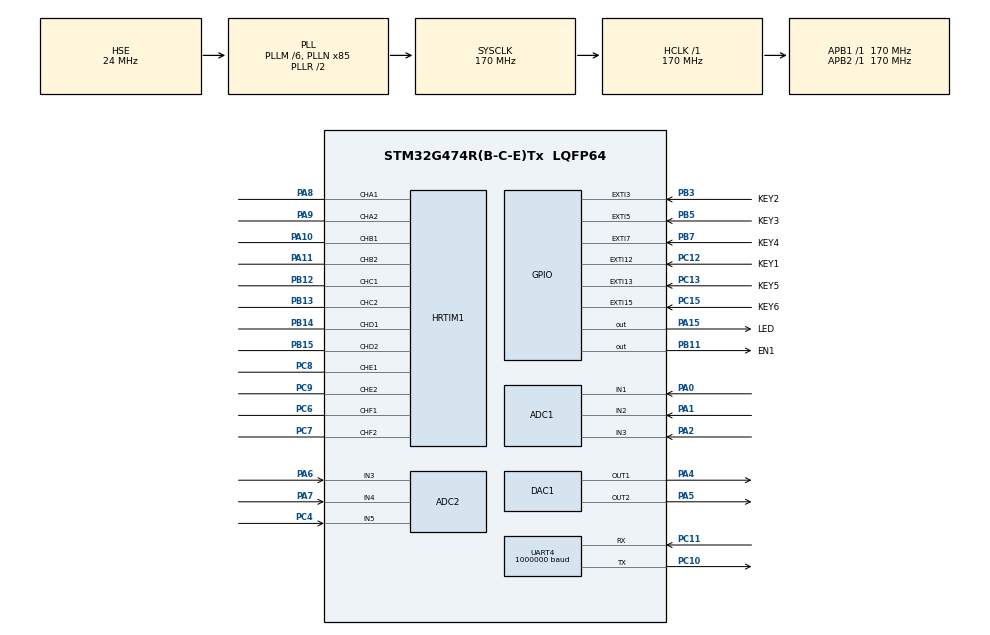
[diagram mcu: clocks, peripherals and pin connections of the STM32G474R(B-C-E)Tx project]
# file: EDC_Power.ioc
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ADC1.Channel-5\#ChannelRegularConversion=ADC_CHANNEL_1
ADC1.Channel-6\#ChannelRegularConversion=ADC_CHANNEL_2
ADC1.Channel-7\#ChannelRegularConversion=ADC_CHANNEL_3
ADC1.ContinuousConvMode=DISABLE
ADC1.DMAAccessModeView=ENABLE
ADC1.DMAContinuousRequests=DISABLE
ADC1.DiscontinuousConvMode=DISABLE
ADC1.EOCSelection=ADC_EOC_SEQ_CONV
ADC1.EnableRegularConversion=ENABLE
ADC1.ExternalTrigConv=ADC_EXTERNALTRIG_HRTIM_TRG1
ADC1.Mode=ADC_DUALMODE_REGSIMULT
ADC1.NbrOfConversion=3
ADC1.NbrOfConversionFlag=1
ADC1.OffsetNumber-5\#ChannelRegularConversion=ADC_OFFSET_NONE
ADC1.OffsetNumber-6\#ChannelRegularConversion=ADC_OFFSET_NONE
ADC1.OffsetNumber-7\#ChannelRegularConversion=ADC_OFFSET_NONE
ADC1.Overrun=ADC_OVR_DATA_OVERWRITTEN
ADC1.OversamplingMode=DISABLE
ADC1.Rank-5\#ChannelRegularConversion=1
ADC1.Rank-6\#ChannelRegularConversion=2
ADC1.Rank-7\#ChannelRegularConversion=3
ADC1.SamplingTime-5\#ChannelRegularConversion=ADC_SAMPLETIME_24CYCLES_5
ADC1.SamplingTime-6\#ChannelRegularConversion=ADC_SAMPLETIME_24CYCLES_5
ADC1.SamplingTime-7\#ChannelRegularConversion=ADC_SAMPLETIME_24CYCLES_5
ADC1.master=1
ADC2.Channel-0\#ChannelRegularConversion=ADC_CHANNEL_3
ADC2.Channel-1\#ChannelRegularConversion=ADC_CHANNEL_4
ADC2.Channel-2\#ChannelRegularConversion=ADC_CHANNEL_5
ADC2.DMAAccessModeView=ENABLE
ADC2.EOCSelection=ADC_EOC_SEQ_CONV
ADC2.Mode=ADC_DUALMODE_REGSIMULT
ADC2.NbrOfConversion=3
ADC2.NbrOfConversionFlag=1
ADC2.OffsetNumber-0\#ChannelRegularConversion=ADC_OFFSET_NONE
ADC2.OffsetNumber-1\#ChannelRegularConversion=ADC_OFFSET_NONE
ADC2.OffsetNumber-2\#ChannelRegularConversion=ADC_OFFSET_NONE
ADC2.Overrun=ADC_OVR_DATA_OVERWRITTEN
ADC2.Rank-0\#ChannelRegularConversion=1
ADC2.Rank-1\#ChannelRegularConversion=2
ADC2.Rank-2\#ChannelRegularConversion=3
ADC2.SamplingTime-0\#ChannelRegularConversion=ADC_SAMPLETIME_24CYCLES_5
ADC2.SamplingTime-1\#ChannelRegularConversion=ADC_SAMPLETIME_24CYCLES_5
ADC2.SamplingTime-2\#ChannelRegularConversion=ADC_SAMPLETIME_24CYCLES_5
DAC1.DAC_Channel-DAC_OUT2=DAC_CHANNEL_2
DAC1.DAC_Trigger_OUT1-DAC_OUT1=DAC_TRIGGER_SOFTWARE
DAC1.DAC_Trigger_OUT2-DAC_OUT2=DAC_TRIGGER_SOFTWARE
Dma.ADC1.0.Direction=DMA_PERIPH_TO_MEMORY
Dma.ADC1.0.EventEnable=DISABLE
Dma.ADC1.0.Instance=DMA1_Channel1
Dma.ADC1.0.MemDataAlignment=DMA_MDATAALIGN_WORD
Dma.ADC1.0.MemInc=DMA_MINC_ENABLE
Dma.ADC1.0.Mode=DMA_NORMAL
Dma.ADC1.0.PeriphDataAlignment=DMA_PDATAALIGN_WORD
Dma.ADC1.0.PeriphInc=DMA_PINC_DISABLE
Dma.ADC1.0.Polarity=HAL_DMAMUX_REQ_GEN_RISING
Dma.ADC1.0.Priority=DMA_PRIORITY_VERY_HIGH
Dma.ADC1.0.RequestNumber=1
Dma.ADC1.0.SignalID=NONE
Dma.ADC1.0.SyncEnable=DISABLE
Dma.ADC1.0.SyncPolarity=HAL_DMAMUX_SYNC_NO_EVENT
Dma.ADC1.0.SyncRequestNumber=1
Dma.ADC1.0.SyncSignalID=NONE
Dma.Request0=ADC1
HRTIM1.ADCTrigger1_Source1=HRTIM_ADCTRIGGEREVENT13_MASTER_PERIOD
HRTIM1.ADCTrigger_Id1=HRTIM_ADCTRIGGER_1
HRTIM1.CompareUnit1-Output_TA1TA2=HRTIM_COMPAREUNIT_1
HRTIM1.CompareUnit1-Output_TB1TB2=HRTIM_COMPAREUNIT_1
HRTIM1.CompareUnit1-Output_TC1TC2=HRTIM_COMPAREUNIT_1
HRTIM1.CompareUnit1-Output_TD1TD2=HRTIM_COMPAREUNIT_1
HRTIM1.CompareUnit1-Output_TE1TE2=HRTIM_COMPAREUNIT_1
HRTIM1.CompareUnit1-Output_TF1TF2=HRTIM_COMPAREUNIT_1
HRTIM1.CompareValue1-Output_TA1TA2=0
HRTIM1.CompareValue1-Output_TB1TB2=0
HRTIM1.CompareValue1-Output_TC1TC2=0
HRTIM1.CompareValue1-Output_TD1TD2=0
HRTIM1.CompareValue1-Output_TE1TE2=0
HRTIM1.CompareValue1-Output_TF1TF2=0
HRTIM1.DeadTimeInsertion-Output_TA1TA2=HRTIM_TIMDEADTIMEINSERTION_ENABLED
HRTIM1.DeadTimeInsertion-Output_TB1TB2=HRTIM_TIMDEADTIMEINSERTION_ENABLED
HRTIM1.DeadTimeInsertion-Output_TC1TC2=HRTIM_TIMDEADTIMEINSERTION_ENABLED
HRTIM1.DeadTimeInsertion-Output_TD1TD2=HRTIM_TIMDEADTIMEINSERTION_ENABLED
HRTIM1.DeadTimeInsertion-Output_TE1TE2=HRTIM_TIMDEADTIMEINSERTION_ENABLED
HRTIM1.DeadTimeInsertion-Output_TF1TF2=HRTIM_TIMDEADTIMEINSERTION_ENABLED
HRTIM1.FallingSign-Output_TA1TA2=HRTIM_TIMDEADTIME_FALLINGSIGN_POSITIVE
HRTIM1.FallingValue-Output_TA1TA2=100
HRTIM1.FallingValue-Output_TB1TB2=100
HRTIM1.FallingValue-Output_TC1TC2=100
HRTIM1.FallingValue-Output_TD1TD2=100
HRTIM1.FallingValue-Output_TE1TE2=100
HRTIM1.FallingValue-Output_TF1TF2=100
HRTIM1.NumberADCTriggerSource1=1
HRTIM1.NumberResetSource1-Output_TA1TA2=1
HRTIM1.NumberResetSource1-Output_TB1TB2=1
HRTIM1.NumberResetSource1-Output_TC1TC2=1
HRTIM1.NumberResetSource1-Output_TD1TD2=1
HRTIM1.NumberResetSource1-Output_TE1TE2=1
HRTIM1.NumberResetSource1-Output_TF1TF2=1
HRTIM1.NumberResetTrigger-Output_TA1TA2=1
HRTIM1.NumberResetTrigger-Output_TB1TB2=1
HRTIM1.NumberResetTrigger-Output_TC1TC2=1
HRTIM1.NumberResetTrigger-Output_TD1TD2=1
HRTIM1.NumberResetTrigger-Output_TE1TE2=1
HRTIM1.NumberResetTrigger-Output_TF1TF2=1
HRTIM1.Periode_MASTER=34000
HRTIM1.Periode_TA=45333
HRTIM1.Periode_TB=45333
HRTIM1.Periode_TC=45333
HRTIM1.Periode_TD=45333
HRTIM1.Periode_TE=45333
HRTIM1.Periode_TF=45333
HRTIM1.PreloadEnable-Output_TA1TA2=HRTIM_PRELOAD_ENABLED
HRTIM1.PreloadEnable-Output_TB1TB2=HRTIM_PRELOAD_ENABLED
HRTIM1.PreloadEnable-Output_TC1TC2=HRTIM_PRELOAD_ENABLED
HRTIM1.PreloadEnable-Output_TD1TD2=HRTIM_PRELOAD_ENABLED
HRTIM1.PreloadEnable-Output_TE1TE2=HRTIM_PRELOAD_ENABLED
HRTIM1.PreloadEnable-Output_TF1TF2=HRTIM_PRELOAD_ENABLED
HRTIM1.PrescalerRatio_MASTER=HRTIM_PRESCALERRATIO_MUL4
HRTIM1.PushPull-Output_TA1TA2=HRTIM_TIMPUSHPULLMODE_DISABLED
HRTIM1.PushPull-Output_TB1TB2=HRTIM_TIMPUSHPULLMODE_DISABLED
HRTIM1.PushPull-Output_TC1TC2=HRTIM_TIMPUSHPULLMODE_DISABLED
HRTIM1.PushPull-Output_TD1TD2=HRTIM_TIMPUSHPULLMODE_DISABLED
HRTIM1.PushPull-Output_TE1TE2=HRTIM_TIMPUSHPULLMODE_DISABLED
HRTIM1.PushPull-Output_TF1TF2=HRTIM_TIMPUSHPULLMODE_DISABLED
HRTIM1.RepetitionUpdate-Output_TA1TA2=HRTIM_UPDATEONREPETITION_ENABLED
HRTIM1.RepetitionUpdate-Output_TB1TB2=HRTIM_UPDATEONREPETITION_ENABLED
HRTIM1.RepetitionUpdate-Output_TC1TC2=HRTIM_UPDATEONREPETITION_ENABLED
HRTIM1.RepetitionUpdate-Output_TD1TD2=HRTIM_UPDATEONREPETITION_ENABLED
HRTIM1.RepetitionUpdate-Output_TE1TE2=HRTIM_UPDATEONREPETITION_ENABLED
HRTIM1.RepetitionUpdate-Output_TF1TF2=HRTIM_UPDATEONREPETITION_ENABLED
HRTIM1.ResetOutput1_Source1-Output_TA1TA2=HRTIM_OUTPUTRESET_TIMCMP1
HRTIM1.ResetOutput1_Source1-Output_TB1TB2=HRTIM_OUTPUTRESET_TIMCMP1
HRTIM1.ResetOutput1_Source1-Output_TC1TC2=HRTIM_OUTPUTRESET_TIMCMP1
HRTIM1.ResetOutput1_Source1-Output_TD1TD2=HRTIM_OUTPUTRESET_TIMCMP1
HRTIM1.ResetOutput1_Source1-Output_TE1TE2=HRTIM_OUTPUTRESET_TIMCMP1
HRTIM1.ResetOutput1_Source1-Output_TF1TF2=HRTIM_OUTPUTRESET_TIMCMP1
HRTIM1.ResetTrigger1-Output_TA1TA2=HRTIM_TIMRESETTRIGGER_MASTER_PER
HRTIM1.ResetTrigger1-Output_TB1TB2=HRTIM_TIMRESETTRIGGER_MASTER_PER
HRTIM1.ResetTrigger1-Output_TC1TC2=HRTIM_TIMRESETTRIGGER_MASTER_PER
HRTIM1.ResetTrigger1-Output_TD1TD2=HRTIM_TIMRESETTRIGGER_MASTER_PER
HRTIM1.ResetTrigger1-Output_TE1TE2=HRTIM_TIMRESETTRIGGER_MASTER_PER
HRTIM1.ResetTrigger1-Output_TF1TF2=HRTIM_TIMRESETTRIGGER_MASTER_PER
HRTIM1.RisingSign-Output_TA1TA2=HRTIM_TIMDEADTIME_RISINGSIGN_POSITIVE
HRTIM1.RisingValue-Output_TA1TA2=100
HRTIM1.RisingValue-Output_TB1TB2=100
HRTIM1.RisingValue-Output_TC1TC2=100
HRTIM1.RisingValue-Output_TD1TD2=100
HRTIM1.RisingValue-Output_TE1TE2=100
HRTIM1.RisingValue-Output_TF1TF2=100
HRTIM1.UpDownMode-Output_TA1TA2=HRTIM_TIMERUPDOWNMODE_UPDOWN
HRTIM1.UpDownMode-Output_TB1TB2=HRTIM_TIMERUPDOWNMODE_UPDOWN
HRTIM1.UpDownMode-Output_TC1TC2=HRTIM_TIMERUPDOWNMODE_UPDOWN
HRTIM1.UpDownMode-Output_TD1TD2=HRTIM_TIMERUPDOWNMODE_UPDOWN
HRTIM1.UpDownMode-Output_TE1TE2=HRTIM_TIMERUPDOWNMODE_UPDOWN
HRTIM1.UpDownMode-Output_TF1TF2=HRTIM_TIMERUPDOWNMODE_UPDOWN
Mcu.Family=STM32G4
Mcu.Name=STM32G474R(B-C-E)Tx
Mcu.Package=LQFP64
NVIC.DMA1_Channel1_IRQn=true\:0\:0\:false\:false\:true\:true\:true\:true
NVIC.EXTI15_10_IRQn=true\:1\:0\:true\:false\:true\:true\:true\:true
NVIC.EXTI3_IRQn=true\:1\:0\:true\:false\:true\:true\:true\:true
NVIC.EXTI9_5_IRQn=true\:1\:0\:true\:false\:true\:true\:true\:true
NVIC.PriorityGroup=NVIC_PRIORITYGROUP_4
PA0.Signal=SharedAnalog_PA0
PA1.Signal=SharedAnalog_PA1
PA10.Mode=Output_TB1TB2
PA10.Signal=HRTIM1_CHB1
PA11.Mode=Output_TB1TB2
PA11.Signal=HRTIM1_CHB2
PA13.Mode=Serial_Wire
PA13.Signal=SYS_JTMS-SWDIO
PA14.Mode=Serial_Wire
PA14.Signal=SYS_JTCK-SWCLK
PA15.GPIO_Label=LED
PA15.GPIO_PuPd=GPIO_PULLUP
PA15.PinState=GPIO_PIN_SET
PA15.Signal=GPIO_Output
PA2.Signal=SharedAnalog_PA2
PA4.Signal=SharedAnalog_PA4
PA5.Signal=SharedAnalog_PA5
PA6.Signal=SharedAnalog_PA6
PA7.Signal=SharedAnalog_PA7
PA8.Mode=Output_TA1TA2
PA8.Signal=HRTIM1_CHA1
PA9.Mode=Output_TA1TA2
PA9.Signal=HRTIM1_CHA2
PB11.GPIO_Label=EN1
PB11.GPIO_PuPd=GPIO_PULLDOWN
PB11.Signal=GPIO_Output
PB12.Mode=Output_TC1TC2
PB12.Signal=HRTIM1_CHC1
PB13.Mode=Output_TC1TC2
PB13.Signal=HRTIM1_CHC2
PB14.Mode=Output_TD1TD2
PB14.Signal=HRTIM1_CHD1
PB15.Mode=Output_TD1TD2
PB15.Signal=HRTIM1_CHD2
PB3.GPIO_Label=KEY2
PB3.GPIO_ModeDefaultEXTI=GPIO_MODE_IT_FALLING
PB3.GPIO_PuPd=GPIO_PULLUP
PB3.Signal=GPXTI3
PB5.GPIO_Label=KEY3
PB5.GPIO_ModeDefaultEXTI=GPIO_MODE_IT_FALLING
PB5.GPIO_PuPd=GPIO_PULLUP
PB5.Signal=GPXTI5
PB7.GPIO_Label=KEY4
PB7.GPIO_ModeDefaultEXTI=GPIO_MODE_IT_FALLING
PB7.GPIO_PuPd=GPIO_PULLUP
PB7.Signal=GPXTI7
PC10.Mode=Asynchronous
PC10.Signal=UART4_TX
PC11.Mode=Asynchronous
PC11.Signal=UART4_RX
PC12.GPIO_Label=KEY1
PC12.GPIO_ModeDefaultEXTI=GPIO_MODE_IT_FALLING
PC12.GPIO_PuPd=GPIO_PULLUP
PC12.Signal=GPXTI12
PC13.GPIO_Label=KEY5
PC13.GPIO_ModeDefaultEXTI=GPIO_MODE_IT_FALLING
PC13.GPIO_PuPd=GPIO_PULLUP
PC13.Signal=GPXTI13
PC15-OSC32_OUT.GPIO_Label=KEY6
PC15-OSC32_OUT.GPIO_ModeDefaultEXTI=GPIO_MODE_IT_FALLING
PC15-OSC32_OUT.GPIO_PuPd=GPIO_PULLUP
PC15-OSC32_OUT.Signal=GPXTI15
PC4.Signal=SharedAnalog_PC4
PC6.Mode=Output_TF1TF2
PC6.Signal=HRTIM1_CHF1
PC7.Mode=Output_TF1TF2
PC7.Signal=HRTIM1_CHF2
PC8.Mode=Output_TE1TE2
PC8.Signal=HRTIM1_CHE1
PC9.Mode=Output_TE1TE2
PC9.Signal=HRTIM1_CHE2
PF0-OSC_IN.Mode=HSE-External-Oscillator
PF0-OSC_IN.Signal=RCC_OSC_IN
PF1-OSC_OUT.Mode=HSE-External-Oscillator
PF1-OSC_OUT.Signal=RCC_OSC_OUT
ProjectManager.HeapSize=0x200
ProjectManager.StackSize=0x400
ProjectManager.TargetToolchain=STM32CubeIDE
RCC.ADC12Freq_Value=170000000
RCC.ADC345Freq_Value=170000000
RCC.AHBFreq_Value=170000000
RCC.APB1Freq_Value=170000000
RCC.APB1TimFreq_Value=170000000
RCC.APB2Freq_Value=170000000
RCC.APB2TimFreq_Value=170000000
RCC.CortexFreq_Value=170000000
RCC.EXTERNAL_CLOCK_VALUE=12288000
RCC.HCLKFreq_Value=170000000
RCC.HSE_VALUE=24000000
RCC.HSI48_VALUE=48000000
RCC.HSI_VALUE=16000000
RCC.LSE_VALUE=32768
RCC.PLLM=RCC_PLLM_DIV6
RCC.PLLN=85
RCC.PLLSourceVirtual=RCC_PLLSOURCE_HSE
RCC.SYSCLKFreq_VALUE=170000000
RCC.SYSCLKSource=RCC_SYSCLKSOURCE_PLLCLK
RCC.USBFreq_Value=170000000
RCC.VCOOutputFreq_Value=340000000
SH.SharedAnalog_PA0.0=GPIO_Analog
SH.SharedAnalog_PA0.1=ADC1_IN1,IN1-Single-Ended
SH.SharedAnalog_PA1.0=GPIO_Analog
SH.SharedAnalog_PA1.1=ADC1_IN2,IN2-Single-Ended
SH.SharedAnalog_PA2.0=GPIO_Analog
SH.SharedAnalog_PA2.1=ADC1_IN3,IN3-Single-Ended
SH.SharedAnalog_PA4.0=GPIO_Analog
SH.SharedAnalog_PA4.1=DAC1_OUT1,DAC_OUT1
SH.SharedAnalog_PA5.0=GPIO_Analog
SH.SharedAnalog_PA5.1=DAC1_OUT2,DAC_OUT2
SH.SharedAnalog_PA6.0=GPIO_Analog
SH.SharedAnalog_PA6.1=ADC2_IN3,IN3-Single-Ended
SH.SharedAnalog_PA7.0=GPIO_Analog
SH.SharedAnalog_PA7.1=ADC2_IN4,IN4-Single-Ended
SH.SharedAnalog_PC4.0=GPIO_Analog
SH.SharedAnalog_PC4.1=ADC2_IN5,IN5-Single-Ended
UART4.BaudRate=1000000
VP_HRTIM1_VS_hrtimMasterTimerNoOutput.Mode=MasterTimer
VP_SYS_VS_DBSignals.Mode=DisableDeadBatterySignals
board=custom

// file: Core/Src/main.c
/* USER CODE BEGIN Header */
/**
  ******************************************************************************
  * @file           : main.c
  * @brief          : Main program body
  ******************************************************************************
  * @attention
  *
  * Copyright (c) 2025 STMicroelectronics.
  * All rights reserved.
  *
  * This software is licensed under terms that can be found in the LICENSE file
  * in the root directory of this software component.
  * If no LICENSE file comes with this software, it is provided AS-IS.
  *
  ******************************************************************************
  */
/* USER CODE END Header */
#include "main.h"
#include "adc.h"
#include "dac.h"
#include "dma.h"
#include "hrtim.h"
#include "usart.h"
#include "gpio.h"

/* USER CODE BEGIN Includes */
#include "bsp_hrtim.h"
#include "bsp_dual_adc.h"
#include "SVPWM.h"
#include "generator.h"
#include "bsp_uart.h"
#include "PR.h"
#include "SPWM.h"
/* USER CODE END Includes */

/* USER CODE BEGIN PV */
float32_t freq = 50;
float32_t Vrms = 32.0f;
float32_t forward_back = 1.0f / 60 * SQRT3;
float32_t Kp = 0.01f, Kr = 50.0f;
float32_t Uab, Ubc, Uca, Ia, Ib, Ic, Ua, Uc;
float32_t angle = 0;//系统相位
SVPWM_HandleTypeDef hsvpwm1;
PR_HandleTypeDef hpra, hprc;
/* USER CODE END PV */

void SystemClock_Config(void);
/* USER CODE BEGIN PFP */
void HAL_ADC_ConvCpltCallback(ADC_HandleTypeDef *hadc) {
    //采样
    Uab = ((float32_t)(adc_val[0] & 0xFFFF) / 4095.0f * 3.0f - 1.5f) / 0.02941176471f;
    Ubc = ((float32_t)(adc_val[0] >> 16) / 4095.0f * 3.0f - 1.5f) / 0.02941176471f;
    Uca = -Uab - Ubc;
    Ia = ((float32_t)(adc_val[1] & 0xFFFF) / 4095.0f * 3.0f - 1.5f) / 0.28f;
    Ic = ((float32_t)(adc_val[1] >> 16) / 4095.0f * 3.0f - 1.5f) / 0.28f;
    Ib = -Ia - Ic;
    Ua = (2.0f * Uab + Ubc) / 3.0f;
    Uc = -(2.0f * Ubc + Uab) / 3.0f;

    //生成参考波
    angle = FrequencyGenerator(freq * 2.0f * PI, 5e-5f);
    float32_t P = (Uab * Ia + Ubc * Ib + Uca * Ic) / SQRT3;
    float32_t phase_a;
    float32_t phase_c;
    if(P > 100.0f) {
        phase_a = (Vrms + 0.1f) * SQRT2 / SQRT3 * CosineGenerator(angle);
        phase_c = (Vrms + 0.1f) * SQRT2 / SQRT3 * CosineGenerator(angle + 2.0f * PI / 3.0f);
    } else {
        phase_a = Vrms * SQRT2 / SQRT3 * CosineGenerator(angle);
        phase_c = Vrms * SQRT2 / SQRT3 * CosineGenerator(angle + 2.0f * PI / 3.0f);
    }

    //PR电压外环与P电流内环
    PRController_Update(&hpra, Ua, phase_a);
    PRController_Update(&hprc, Uc, phase_c);
    float32_t A, B, C;
    A = (hpra.ctrl - Ia) * 0.06f + phase_a * forward_back;
    C = (hprc.ctrl - Ic) * 0.06f + phase_c * forward_back;

    //调制发波
    B = 0 - A - C;
    SVPWM_ThirdHarmonicInjection(&hsvpwm1, A, B, C);
    set_duty(TIM_A, hsvpwm1.duty_a);
    set_duty(TIM_B, hsvpwm1.duty_b);
    set_duty(TIM_C, hsvpwm1.duty_c);

    //再次使能ADC
    BSP_ADC_DualSampleStart();
}

void HAL_GPIO_EXTI_Callback(uint16_t GPIO_Pin) {
    if(GPIO_Pin == KEY1_Pin) {
        if(HAL_GPIO_ReadPin(KEY1_GPIO_Port, KEY1_Pin) == GPIO_PIN_RESET) {
            freq++;
            PRController_Init(&hpra, Kp, Kr, (float32_t) freq * 2.0f * PI, 80);
            PRController_Init(&hprc, Kp, Kr, (float32_t) freq * 2.0f * PI, 80);
        }
    }
    if(GPIO_Pin == KEY4_Pin) {
        if(HAL_GPIO_ReadPin(KEY4_GPIO_Port, KEY4_Pin) == GPIO_PIN_RESET) {
            freq--;
            PRController_Init(&hpra, Kp, Kr, (float32_t) freq * 2.0f * PI, 80);
            PRController_Init(&hprc, Kp, Kr, (float32_t) freq * 2.0f * PI, 80);
        }
    }
    if(GPIO_Pin == KEY2_Pin) {
        if(HAL_GPIO_ReadPin(KEY2_GPIO_Port, KEY2_Pin) == GPIO_PIN_RESET) {
            freq += 10;
            PRController_Init(&hpra, Kp, Kr, (float32_t) freq * 2.0f * PI, 80);
            PRController_Init(&hprc, Kp, Kr, (float32_t) freq * 2.0f * PI, 80);
        }
    }
    if(GPIO_Pin == KEY5_Pin) {
        if(HAL_GPIO_ReadPin(KEY5_GPIO_Port, KEY5_Pin) == GPIO_PIN_RESET) {
            freq -= 10;
            PRController_Init(&hpra, Kp, Kr, (float32_t) freq * 2.0f * PI, 80);
            PRController_Init(&hprc, Kp, Kr, (float32_t) freq * 2.0f * PI, 80);
        }
    }
    if(GPIO_Pin == KEY3_Pin) {
        if(HAL_GPIO_ReadPin(KEY3_GPIO_Port, KEY3_Pin) == GPIO_PIN_RESET) {
            Vrms += 0.1f;
        }
    }
    if(GPIO_Pin == KEY6_Pin) {
        if(HAL_GPIO_ReadPin(KEY6_GPIO_Port, KEY6_Pin) == GPIO_PIN_RESET) {
            Vrms -= 0.1f;
        }
    }
}
/* USER CODE END PFP */

int main(void)
{

  /* MCU Configuration--------------------------------------------------------*/

  /* Reset of all peripherals, Initializes the Flash interface and the Systick. */
  HAL_Init();

  /* Configure the system clock */
  SystemClock_Config();

  /* USER CODE BEGIN SysInit */
    PRController_Init(&hpra, Kp, Kr, (float32_t)freq * 2.0f * PI, 80);
    PRController_Init(&hprc, Kp, Kr, (float32_t)freq * 2.0f * PI, 80);
  /* USER CODE END SysInit */

  /* Initialize all configured peripherals */
  MX_GPIO_Init();
  MX_DMA_Init();
  MX_HRTIM1_Init();
  MX_ADC1_Init();
  MX_ADC2_Init();
  MX_UART4_Init();
  MX_DAC1_Init();
  /* USER CODE BEGIN 2 */
    BSP_ADC_DualSampleInit();//使能ADC采样
    HAL_DAC_SetValue(&hdac1, DAC_CHANNEL_1, DAC_ALIGN_12B_R, 2047);
    HAL_DAC_SetValue(&hdac1, DAC_CHANNEL_2, DAC_ALIGN_12B_R, 2047);
    HAL_DAC_Start(&hdac1,DAC_CHANNEL_1);
    HAL_DAC_Start(&hdac1,DAC_CHANNEL_2);
    set_deadtime(TIM_A, 0, 0);//设置死区
    init_hrtim(&hhrtim1, TIM_A, 20000);//设置定时器A的PWM频率（建议为MASTER频率的整数倍）
    init_hrtim(&hhrtim1, TIM_B, 20000);//设置定时器B的PWM频率（建议为MASTER频率的整数倍）
    init_hrtim(&hhrtim1, TIM_C, 20000);//设置定时器C的PWM频率（建议为MASTER频率的整数倍）
    init_hrtim(&hhrtim1, MASTER, 20000);//设置定时器MASTER的频率（用于多通道PWM的同步，以及ADC的采样触发）
    HAL_GPIO_WritePin(EN1_GPIO_Port, EN1_Pin, GPIO_PIN_SET);
    HAL_GPIO_WritePin(LED_GPIO_Port, LED_Pin, GPIO_PIN_RESET);
  /* USER CODE END 2 */

  /* Infinite loop */
  while (1)
  {

    /* USER CODE BEGIN 3 */
//      BSP_UART_TransmitFloat(&huart4, 3, Uab, Ia, Ua);
  }
  /* USER CODE END 3 */
}

void SystemClock_Config(void)
{
  RCC_OscInitTypeDef RCC_OscInitStruct = {0};
  RCC_ClkInitTypeDef RCC_ClkInitStruct = {0};

  /** Configure the main internal regulator output voltage
  */
  HAL_PWREx_ControlVoltageScaling(PWR_REGULATOR_VOLTAGE_SCALE1_BOOST);

  /** Initializes the RCC Oscillators according to the specified parameters
  * in the RCC_OscInitTypeDef structure.
  */
  RCC_OscInitStruct.OscillatorType = RCC_OSCILLATORTYPE_HSE;
  RCC_OscInitStruct.HSEState = RCC_HSE_ON;
  RCC_OscInitStruct.PLL.PLLState = RCC_PLL_ON;
  RCC_OscInitStruct.PLL.PLLSource = RCC_PLLSOURCE_HSE;
  RCC_OscInitStruct.PLL.PLLM = RCC_PLLM_DIV6;
  RCC_OscInitStruct.PLL.PLLN = 85;
  RCC_OscInitStruct.PLL.PLLP = RCC_PLLP_DIV2;
  RCC_OscInitStruct.PLL.PLLQ = RCC_PLLQ_DIV2;
  RCC_OscInitStruct.PLL.PLLR = RCC_PLLR_DIV2;
  if (HAL_RCC_OscConfig(&RCC_OscInitStruct) != HAL_OK)
  {
    Error_Handler();
  }

  /** Initializes the CPU, AHB and APB buses clocks
  */
  RCC_ClkInitStruct.ClockType = RCC_CLOCKTYPE_HCLK|RCC_CLOCKTYPE_SYSCLK
                              |RCC_CLOCKTYPE_PCLK1|RCC_CLOCKTYPE_PCLK2;
  RCC_ClkInitStruct.SYSCLKSource = RCC_SYSCLKSOURCE_PLLCLK;
  RCC_ClkInitStruct.AHBCLKDivider = RCC_SYSCLK_DIV1;
  RCC_ClkInitStruct.APB1CLKDivider = RCC_HCLK_DIV1;
  RCC_ClkInitStruct.APB2CLKDivider = RCC_HCLK_DIV1;

  if (HAL_RCC_ClockConfig(&RCC_ClkInitStruct, FLASH_LATENCY_4) != HAL_OK)
  {
    Error_Handler();
  }
}

void Error_Handler(void)
{
  __disable_irq();
  while (1)
  {
  }
}
